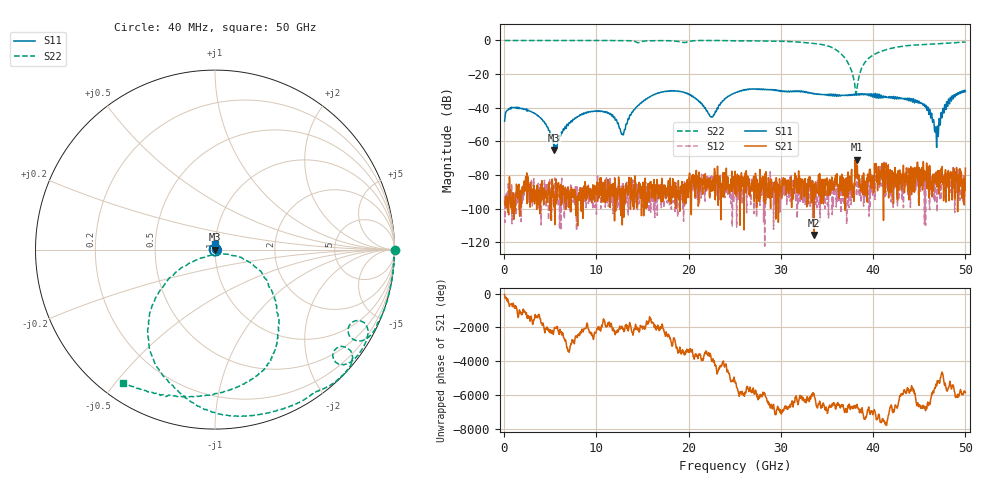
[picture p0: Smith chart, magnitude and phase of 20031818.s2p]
! 10/19/2020 15:48:48
! D:\MS4647AVNA\240F185F 200318XX\20031818.S2P
! CHANNEL.1
! TR.MEASUREMENT
! CORRECTED.DATA
# GHZ S RI R 50.0
! FREQ.GHZ  S11RE  S11IM  S21RE  S21IM  S12RE  S12IM  S22RE  S22IM
!; PortSelection: Port_12
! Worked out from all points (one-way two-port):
!   1250 points, 40 MHz to 50 GHz, reference 50 ohm
!   highest |S21| = -70.94 dB at 38.2 GHz (marker M1); lowest = -115.7 dB at 33.56 GHz (marker M2)
!   lowest |S11| = -65.2 dB at 5.4 GHz (marker M3), VSWR 1.00, Z = 50 - j0.0307 ohm
!   |S11| at or under -10 dB: start of sweep to end of sweep
!   |S22| runs from -31.7 to 0.0 dB; largest |S21 - S12| = 0.00051
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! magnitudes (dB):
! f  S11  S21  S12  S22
! 40 MHz  -48.0  -95.8  -92.2  0.0
! 1 GHz  -39.9  -91.1  -92.1  0.0
! 3.08 GHz  -42.8  -88.5  -92.1  0.0
! 5.4 GHz  -65.2  -92.4  -92.2  0.0
! 8.4 GHz  -43.7  -88.0  -94.8  0.0
! 11.32 GHz  -42.9  -84.0  -98.3  0.0
! 12.88 GHz  -56.0  -86.8  -85.9  0.0
! 14.24 GHz  -40.1  -84.3  -93.9  -0.7
! 16.72 GHz  -31.1  -94.0  -88.8  -0.1
! 19.84 GHz  -31.3  -82.9  -88.7  -0.9
! 22.48 GHz  -45.6  -83.9  -80.5  0.0
! 25.04 GHz  -31.2  -77.8  -90.2  -0.2
! 33.36 GHz  -31.3  -84.0  -90.9  -1.7
! 33.56 GHz  -31.5  -115.7  -97.6  -1.8
! 36.6 GHz  -32.7  -79.6  -93.5  -8.4
! 38.2 GHz  -32.1  -70.9  -92.6  -30.6
! 39.28 GHz  -32.1  -90.2  -90.7  -11.9
! 41.68 GHz  -34.1  -93.7  -79.2  -5.1
! 45.52 GHz  -37.8  -77.4  -81.6  -2.4
! 46.84 GHz  -56.5  -78.2  -85.3  -2.0
! 48.16 GHz  -34.9  -77.4  -79.7  -1.6
! 50 GHz  -30.4  -75.9  -87.2  -0.9
